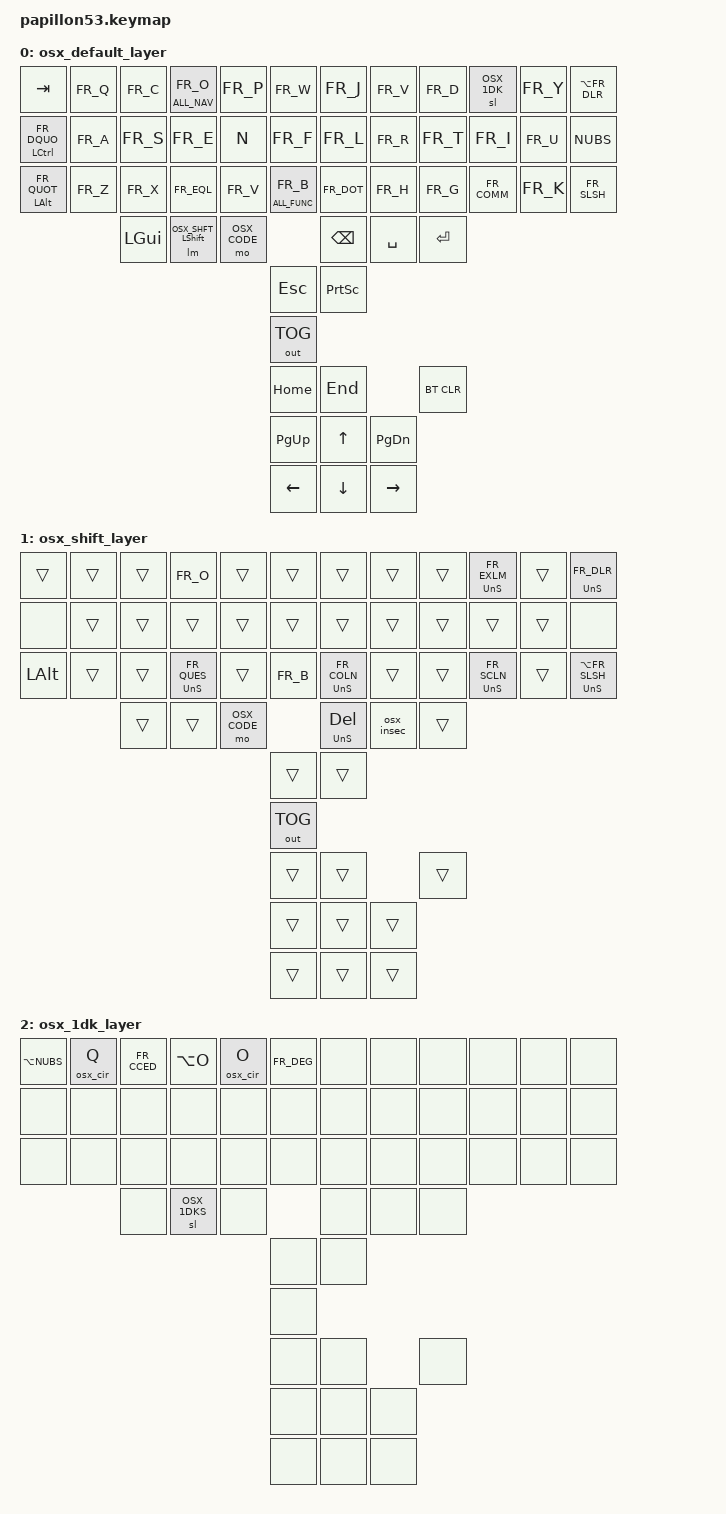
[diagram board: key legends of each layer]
#include <dt-bindings/zmk/bt.h>
#include <dt-bindings/zmk/keys.h>
#include <dt-bindings/zmk/outputs.h>

#include <behaviors.dtsi>

#include "keymap_french.h"

#define OSX_DFLT 0
#define OSX_SHFT 1
#define OSX_1DK  2
#define OSX_1DKS 3
#define OSX_CODE 4
#define WIN_DFLT 5
#define WIN_SHFT 6
#define WIN_1DK  7
#define WIN_1DKS 8
#define WIN_CODE 9
#define ALL_FUNC 10
#define ALL_NAV  11

&sl {
    release-after-ms = <5000>;
};

/ { 


    macros {
        lm: lm {
            compatible = "zmk,behavior-macro-two-param";
            wait-ms = <0>;
            tap-ms = <0>;
            #binding-cells = <2>;
            bindings
                = <&macro_param_1to1>
                , <&macro_press &mo MACRO_PLACEHOLDER>
                , <&macro_param_2to1>
                , <&macro_press &kp MACRO_PLACEHOLDER>
                , <&macro_pause_for_release>
                , <&macro_param_2to1>
                , <&macro_release &kp MACRO_PLACEHOLDER>
                , <&macro_param_1to1>
                , <&macro_release &mo MACRO_PLACEHOLDER>
                ;
        };
        
        osx_insec: osx_insec {
            compatible = "zmk,behavior-macro";
            #binding-cells = <0>;
            bindings
                = <&macro_release &kp LSHFT>
                , <&macro_press &kp LALT>
                , <&macro_tap &kp SPACE>
                , <&macro_release &kp LALT>
                , <&macro_press &kp LSHFT>
                ;
        };

        UnS: UnS {
            compatible = "zmk,behavior-macro-one-param";
            #binding-cells = <1>;
            bindings = 
                <&macro_release &kp LSHFT>
                ,<&macro_param_1to1>
                ,<&macro_tap &kp MACRO_PLACEHOLDER>
                ,<&macro_press &kp LSHFT>
                ;
        };

        osx_cir: osx_cir {
            compatible = "zmk,behavior-macro-one-param";
            #binding-cells = <1>;
            wait-ms = <20>;
            tap-ms = <20>;
            bindings = 
                <&macro_tap &kp FR_CIRC>
                ,<&macro_param_1to1>
                ,<&macro_tap &kp MACRO_PLACEHOLDER>
                ;
        };
    };

    keymap {
        compatible = "zmk,keymap";

        osx_default_layer { // OSX_DFLT 0

            bindings = <
// +---------------+-----------+-----------+-----------+-----------+-----------+    +-----------+-----------+-----------+-----------+-----------+-----------+
// |  TAB          |    q      |    c      |    o      |    p      |    w      |    |    j      |    m      |    d      |   1dk     |    y      |    €      |
    &kp TAB         &kp FR_Q    &kp FR_C &lt ALL_NAV FR_O &kp FR_P  &kp FR_W         &kp FR_J    &kp FR_V    &kp FR_D    &sl OSX_1DK &kp FR_Y    &kp LA(FR_DLR)
// +---------------+-----------+-----------+-----------+-----------+-----------+    +-----------+-----------+-----------+-----------+-----------+-----------+
// |    "          |    a      |    s      |    e      |    n      |    f      |    |    l      |    r      |    t      |    i      |    u      |    @      |    
    &mt LCTL FR_DQUO &kp FR_A   &kp FR_S    &kp FR_E    &kp N       &kp FR_F         &kp FR_L    &kp FR_R    &kp FR_T    &kp FR_I    &kp FR_U    &kp NUBS
// +---------------+-----------+-----------+-----------+-----------+-----------+    +-----------+-----------+-----------+-----------+-----------+-----------+
// |    '          |    z      |    x      |    -      |    v      |    b      |    |    .      |    h      |    g      |    ,      |    k      |    /      |
    &mt LALT FR_QUOT &kp FR_Z   &kp FR_X    &kp FR_EQL  &kp FR_V  &lt ALL_FUNC FR_B  &kp FR_DOT  &kp FR_H    &kp FR_G    &kp FR_COMM &kp FR_K    &kp FR_SLSH
// +---------------+-----------+-----------+-----------+-----------+-----------+    +-----------+-----------+-----------+-----------+-----------+-----------+
//                             |  COMMD    |  SHIFT             |  CODE        |    |  BACKSP   |   SPACE   |   ENTER   |
                                &kp LGUI    &lm OSX_SHFT LSHIFT  &mo OSX_CODE         &kp BSPC    &kp SPACE   &kp ENTER 
//                             +-----------+--------------------+--------------+    +-----------+-----------+-----------+
//
//                                                                 +-----------+    +-----------+
//                                                                 |   ESC     |    | PRINTSCR  |
                                                                    &kp ESC          &kp PRINTSCREEN
//                                                                 +-----------+    +-----------+
//                                                                          +-----------+
//                                                                          |   LOCK    |
                                                                            &out OUT_TOG
//                                                                     +----+------+----+------+                 +-----------+
//                                                                     |  HOME     |   END     |                 |  BLUETH   |
                                                                        &kp HOME    &kp END                       &bt BT_CLR
//                                                               +-----+-----+-----------+-----+-----+           +-----------+
//                                                               |  PGUP     |   UP      |  PGDWN    |         
                                                                &kp PG_UP   &kp UP      &kp PG_DN
//                                                               +-----------+-----------+-----------+
//                                                               |  LEFT     |  DOWN     |  ROGHT    |                                                                
                                                                &kp LEFT    &kp DOWN    &kp RIGHT            
//                                                               +-----------+-----------+-----------+
            >;
        }; 

        osx_shift_layer { // OSX_SHFT 1

            bindings = <
// +---------------+-----------+-----------+-----------+-----------+-----------+    +-----------+-----------+-----------+-----------+-----------+-----------+
// |  TAB          |    Q      |    C      |    O      |    P      |    W      |    |    J      |    M      |    D      |   !       |    Y      |    $      |
    &trans          &trans      &trans      &kp FR_O    &trans      &trans           &trans      &trans      &trans     &UnS FR_EXLM  &trans     &UnS FR_DLR
// +---------------+-----------+-----------+-----------+-----------+-----------+    +-----------+-----------+-----------+-----------+-----------+-----------+
// |               |    A      |    S      |    E      |    N      |    F      |    |    L      |    R      |    T      |    I      |    U      |           |    
    &none           &trans      &trans      &trans      &trans      &trans           &trans      &trans      &trans      &trans      &trans      &none
// +---------------+-----------+-----------+-----------+-----------+-----------+    +-----------+-----------+-----------+-----------+-----------+-----------+
// |               |    Z      |    X      |    ?      |    V      |    B      |    |    :      |    H      |    G      |    ;      |    K      |    /      |
    &kp LALT        &trans      &trans     &UnS FR_QUES &trans      &kp FR_B        &UnS FR_COLN &trans      &trans     &UnS FR_SCLN &trans     &UnS LA(FR_SLSH)
// +---------------+-----------+-----------+-----------+-----------+-----------+    +-----------+-----------+-----------+-----------+-----------+-----------+
//                             |  COMMD    |  SHIFT             |  CODE        |    |  DEL      |   SPACE   |   ENTER   |
                                &trans      &trans               &mo OSX_CODE        &UnS DEL    &osx_insec  &trans 
//                             +-----------+--------------------+--------------+    +-----------+-----------+-----------+
//
//                                                                 +-----------+    +-----------+
//                                                                 |   ESC     |    | PRINTSCR  |
                                                                    &trans           &trans
//                                                                 +-----------+    +-----------+
//                                                                          +-----------+
//                                                                          |   LOCK    |
                                                                            &out OUT_TOG
//                                                                     +----+------+----+------+                 +-----------+
//                                                                     |  HOME     |   END     |                 |  BLUETH   |
                                                                        &trans      &trans                        &trans
//                                                               +-----+-----+-----------+-----+-----+           +-----------+
//                                                               |  PGUP     |   UP      |  PGDWN    |         
                                                                &trans        &trans      &trans
//                                                               +-----------+-----------+-----------+
//                                                               |  LEFT     |  DOWN     |  ROGHT    |                                                                
                                                                &trans        &trans      &trans            
//                                                               +-----------+-----------+-----------+
            >;
        };

        osx_1dk_layer { // OSX_1DK 2

            bindings = <
// +---------------+-----------+-----------+-----------+-----------+-----------+    +-----------+-----------+-----------+-----------+-----------+-----------+
// |  •            |    â      |    ç      |    oe     |    ô      |    °      |    |    J      |    M      |    D      |   !       |    Y      |    $      |
    &kp LA(NUBS)    &osx_cir Q  &kp FR_CCED &kp LA(O)   &osx_cir O  &kp FR_DEG       &none       &none       &none       &none       &none       &none
// +---------------+-----------+-----------+-----------+-----------+-----------+    +-----------+-----------+-----------+-----------+-----------+-----------+
// |               |    A      |    S      |    E      |    N      |    F      |    |    L      |    R      |    T      |    I      |    U      |           |    
    &none           &none       &none       &none       &none       &none            &none       &none       &none       &none       &none       &none
// +---------------+-----------+-----------+-----------+-----------+-----------+    +-----------+-----------+-----------+-----------+-----------+-----------+
// |               |    Z      |    X      |    ?      |    V      |    B      |    |    :      |    H      |    G      |    ;      |    K      |    /      |
    &none           &none       &none       &none       &none       &none            &none       &none       &none       &none       &none       &none
// +---------------+-----------+-----------+-----------+-----------+-----------+    +-----------+-----------+-----------+-----------+-----------+-----------+
//                             |  COMMD    |  SHIFT             |  CODE        |    |  DEL      |   SPACE   |   ENTER   |
                                &none       &sl OSX_1DKS         &none               &none       &none       &none 
//                             +-----------+--------------------+--------------+    +-----------+-----------+-----------+
//
//                                                                 +-----------+    +-----------+
//                                                                 |   ESC     |    | PRINTSCR  |
                                                                    &none           &none
//                                                                 +-----------+    +-----------+
//                                                                          +-----------+
//                                                                          |   LOCK    |
                                                                            &none
//                                                                     +----+------+----+------+                 +-----------+
//                                                                     |  HOME     |   END     |                 |  BLUETH   |
                                                                        &none       &none                          &none
//                                                               +-----+-----+-----------+-----+-----+           +-----------+
//                                                               |  PGUP     |   UP      |  PGDWN    |         
                                                                &none         &none       &none
//                                                               +-----------+-----------+-----------+
//                                                               |  LEFT     |  DOWN     |  ROGHT    |                                                                
                                                                &none         &none       &none            
//                                                               +-----------+-----------+-----------+
            >;
        };
    };
};
